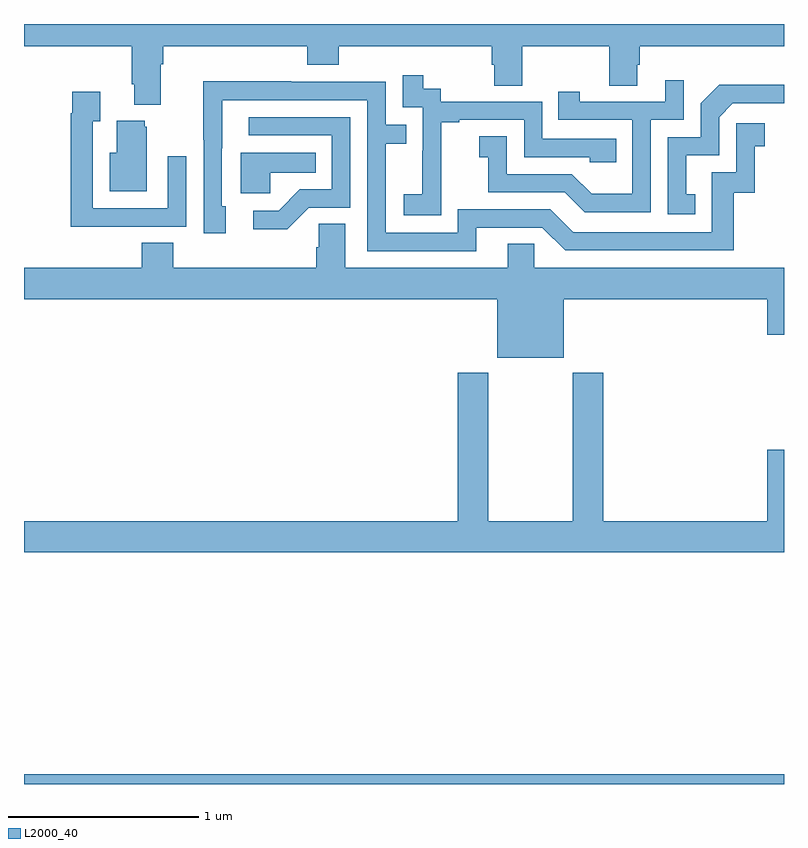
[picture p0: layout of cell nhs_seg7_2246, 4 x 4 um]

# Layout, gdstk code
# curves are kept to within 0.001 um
import gdstk
lib = gdstk.Library(unit=1e-6, precision=1e-09)
def R(c, l, rs):  # rectangles x0, y0, x1, y1
    for r in rs: c.add(gdstk.rectangle(r[:2], r[2:], *l))
def P(c, l, *ps):  # polygons
    for p in ps: c.add(gdstk.Polygon(p, *l))
L2000_40 = (2000, 40)

nhs_seg7_2246 = lib.new_cell('nhs_seg7_2246')
R(nhs_seg7_2246, L2000_40, [(257,1062,261,1062.052)])
P(nhs_seg7_2246, L2000_40, [(257.719,1065.788),(257.732,1065.788),(257.732,1065.884),(258.491,1065.884),(258.491,1065.785),(258.656,1065.785),(258.656,1065.884),(259.463,1065.884),(259.463,1065.786),(259.475,1065.786),(259.475,1065.676),(259.623,1065.676),(259.623,1065.884),(260.08,1065.884),(260.08,1065.676),(260.227,1065.676),(260.227,1065.786),(260.24,1065.786),(260.24,1065.884),(261,1065.884),(261,1066),(257,1066),(257,1065.884),(257.567,1065.884),(257.567,1065.682),(257.579,1065.682),(257.579,1065.575),(257.719,1065.575)],
  [(259.197,1065.199),(259.196,1065.199),(259.196,1065.483),(259.291,1065.483),(259.291,1065.495),(259.632,1065.495),(259.632,1065.3),(259.977,1065.3),(259.977,1065.273),(260.117,1065.273),(260.117,1065.396),(259.728,1065.396),(259.728,1065.591),(259.194,1065.591),(259.194,1065.66),(259.102,1065.66),(259.102,1065.73),(258.993,1065.73),(258.993,1065.561),(259.098,1065.561),(259.098,1065.332),(259.097,1065.332),(259.097,1065.103),(258.999,1065.103),(258.999,1064.993),(259.197,1064.993)],
  [(260.298,1065.495),(260.472,1065.495),(260.472,1065.703),(260.375,1065.703),(260.375,1065.591),(259.924,1065.591),(259.924,1065.643),(259.813,1065.643),(259.813,1065.495),(260.202,1065.495),(260.202,1065.106),(259.988,1065.106),(259.884,1065.21),(259.542,1065.21),(259.542,1065.409),(259.395,1065.409),(259.395,1065.299),(259.444,1065.299),(259.444,1065.114),(259.847,1065.114),(259.952,1065.009),(260.298,1065.009)],
  [(259.381,1064.928),(259.728,1064.928),(259.848,1064.808),(260.735,1064.808),(260.735,1065.111),(260.846,1065.111),(260.846,1065.357),(260.899,1065.357),(260.899,1065.478),(260.748,1065.478),(260.748,1065.219),(260.619,1065.219),(260.619,1064.904),(259.89,1064.904),(259.77,1065.024),(259.284,1065.024),(259.284,1064.901),(258.903,1064.901),(258.903,1065.37),(259.013,1065.37),(259.013,1065.471),(258.903,1065.471),(258.903,1065.696),(258.407,1065.696),(258.407,1065.698),(257.944,1065.698),(257.944,1065.391),(257.946,1065.391),(257.946,1064.898),(258.061,1064.898),(258.061,1065.042),(258.042,1065.042),(258.043,1065.6),(258.807,1065.6),(258.807,1064.805),(259.381,1064.805)],
  [(260.534,1065.105),(260.485,1065.105),(260.485,1065.309),(260.658,1065.309),(260.658,1065.51),(260.73,1065.582),(261,1065.582),(261,1065.68),(260.66,1065.68),(260.562,1065.582),(260.562,1065.405),(260.388,1065.405),(260.388,1065),(260.534,1065)],
  [(257.537,1064.934),(257.853,1064.934),(257.853,1065.304),(257.757,1065.304),(257.757,1065.03),(257.361,1065.03),(257.361,1065.487),(257.401,1065.487),(257.401,1065.643),(257.253,1065.643),(257.253,1065.53),(257.245,1065.53),(257.245,1064.933),(257.537,1064.933)],
  [(258.498,1065.033),(258.717,1065.033),(258.717,1065.51),(258.183,1065.51),(258.183,1065.414),(258.621,1065.414),(258.621,1065.129),(258.452,1065.129),(258.341,1065.018),(258.207,1065.018),(258.207,1064.921),(258.385,1064.921)],
  [(257.647,1065.459),(257.636,1065.459),(257.636,1065.49),(257.489,1065.49),(257.489,1065.322),(257.45,1065.322),(257.45,1065.119),(257.647,1065.119)],
  [(258.297,1065.218),(258.536,1065.218),(258.536,1065.322),(258.14,1065.322),(258.14,1065.11),(258.297,1065.11)],
  [(259.84,1064.552),(260.912,1064.552),(260.912,1064.364),(261,1064.364),(261,1064.716),(259.686,1064.716),(259.686,1064.843),(259.547,1064.843),(259.547,1064.716),(258.691,1064.716),(258.691,1064.948),(258.552,1064.948),(258.552,1064.825),(258.539,1064.825),(258.539,1064.716),(257.786,1064.716),(257.786,1064.849),(257.621,1064.849),(257.621,1064.716),(257,1064.716),(257,1064.552),(259.49,1064.552),(259.49,1064.243),(259.84,1064.243)],
  [(261,1063.759),(260.912,1063.759),(260.912,1063.384),(260.048,1063.384),(260.048,1064.164),(259.888,1064.164),(259.888,1063.384),(259.443,1063.384),(259.443,1064.164),(259.283,1064.164),(259.283,1063.384),(257,1063.384),(257,1063.22),(261,1063.22)])

lib.write_gds('nhs_seg7_2246.gds')
